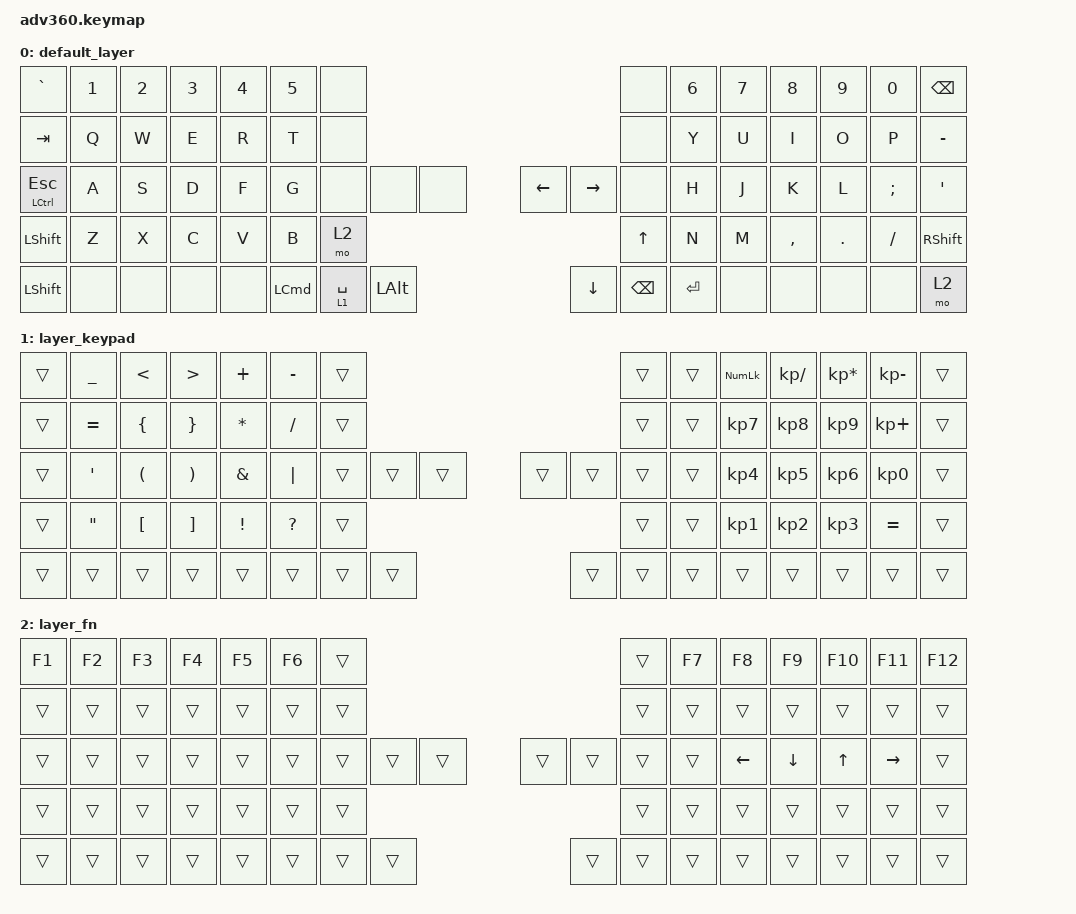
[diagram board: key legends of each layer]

/*
 * Copyright (c) 2020 The ZMK Contributors
 *
 * SPDX-License-Identifier: MIT
 */


/* THIS FILE WAS GENERATED!
 *
 * This file was generated automatically. You may or may not want to
 * edit it directly.
 */

#include <behaviors.dtsi>
#include <dt-bindings/zmk/keys.h>

/ {
  behaviors {
    #include "macros.dtsi"

    hm: homerow_mods {
        compatible = "zmk,behavior-hold-tap";
        label = "HOMEROW_MODS";
        #binding-cells = <2>;
        tapping-term-ms = <200>;
        quick_tap_ms = <175>;
        flavor = "tap-preferred";
        bindings = <&kp>, <&kp>;
    };
  };

    keymap {
        compatible = "zmk,keymap";


        default_layer {
            bindings = <
      &kp GRAVE  &kp N1  &kp N2  &kp N3  &kp N4  &kp N5                       &none                                                                          &none  &kp N6  &kp N7     &kp N8   &kp N9    &kp N0  &kp BACKSPACE
        &kp TAB   &kp Q   &kp W   &kp E   &kp R   &kp T                       &none                                                                          &none   &kp Y   &kp U      &kp I    &kp O     &kp P      &kp MINUS
  &mt LCTRL ESC   &kp A   &kp S   &kp D   &kp F   &kp G                       &none        &none         &none                  &kp LEFT      &kp RIGHT      &none   &kp H   &kp J      &kp K    &kp L  &kp SEMI        &kp SQT
      &kp LSHFT   &kp Z   &kp X   &kp C   &kp V   &kp B                                                  &mo 2                    &kp UP                             &kp N   &kp M  &kp COMMA  &kp DOT  &kp FSLH      &kp RSHFT
 &kp LEFT_SHIFT   &none   &none   &none   &none                    &kp LEFT_COMMAND  &lt 1 SPACE  &kp LEFT_ALT                  &kp DOWN  &kp BACKSPACE  &kp ENTER           &none      &none    &none     &none          &mo 2
            >;
        };

        layer_keypad {
            bindings = <
 &trans     &kp UNDERSCORE         &kp LESS_THAN       &kp GREATER_THAN         &kp PLUS     &kp MINUS            &trans                                                  &trans  &trans  &kp KP_NUM  &kp KP_DIVIDE  &kp KP_MULTIPLY     &kp KP_MINUS  &trans
 &trans          &kp EQUAL        &kp LEFT_BRACE        &kp RIGHT_BRACE     &kp ASTERISK     &kp SLASH            &trans                                                  &trans  &trans   &kp KP_N7      &kp KP_N8        &kp KP_N9      &kp KP_PLUS  &trans
 &trans     &kp APOSTROPHE  &kp LEFT_PARENTHESIS  &kp RIGHT_PARENTHESIS    &kp AMPERSAND      &kp PIPE            &trans  &trans  &trans                  &trans  &trans  &trans  &trans   &kp KP_N4      &kp KP_N5        &kp KP_N6  &kp KP_NUMBER_0  &trans
 &trans  &kp DOUBLE_QUOTES      &kp LEFT_BRACKET      &kp RIGHT_BRACKET  &kp EXCLAMATION  &kp QUESTION                            &trans                  &trans                  &trans   &kp KP_N1      &kp KP_N2        &kp KP_N3        &kp EQUAL  &trans
 &trans             &trans                &trans                 &trans           &trans                          &trans  &trans  &trans                  &trans  &trans  &trans              &trans         &trans           &trans           &trans  &trans
            >;
        };

        layer_fn {
            bindings = <
 &kp F1  &kp F2  &kp F3  &kp F4  &kp F5  &kp F6            &trans                                                  &trans  &kp F7    &kp F8    &kp F9  &kp F10    &kp F11  &kp F12
 &trans  &trans  &trans  &trans  &trans  &trans            &trans                                                  &trans  &trans    &trans    &trans   &trans     &trans   &trans
 &trans  &trans  &trans  &trans  &trans  &trans            &trans  &trans  &trans                  &trans  &trans  &trans  &trans  &kp LEFT  &kp DOWN   &kp UP  &kp RIGHT   &trans
 &trans  &trans  &trans  &trans  &trans  &trans                            &trans                  &trans                  &trans    &trans    &trans   &trans     &trans   &trans
 &trans  &trans  &trans  &trans  &trans                    &trans  &trans  &trans                  &trans  &trans  &trans            &trans    &trans   &trans     &trans   &trans
            >;
        };

    };
};
